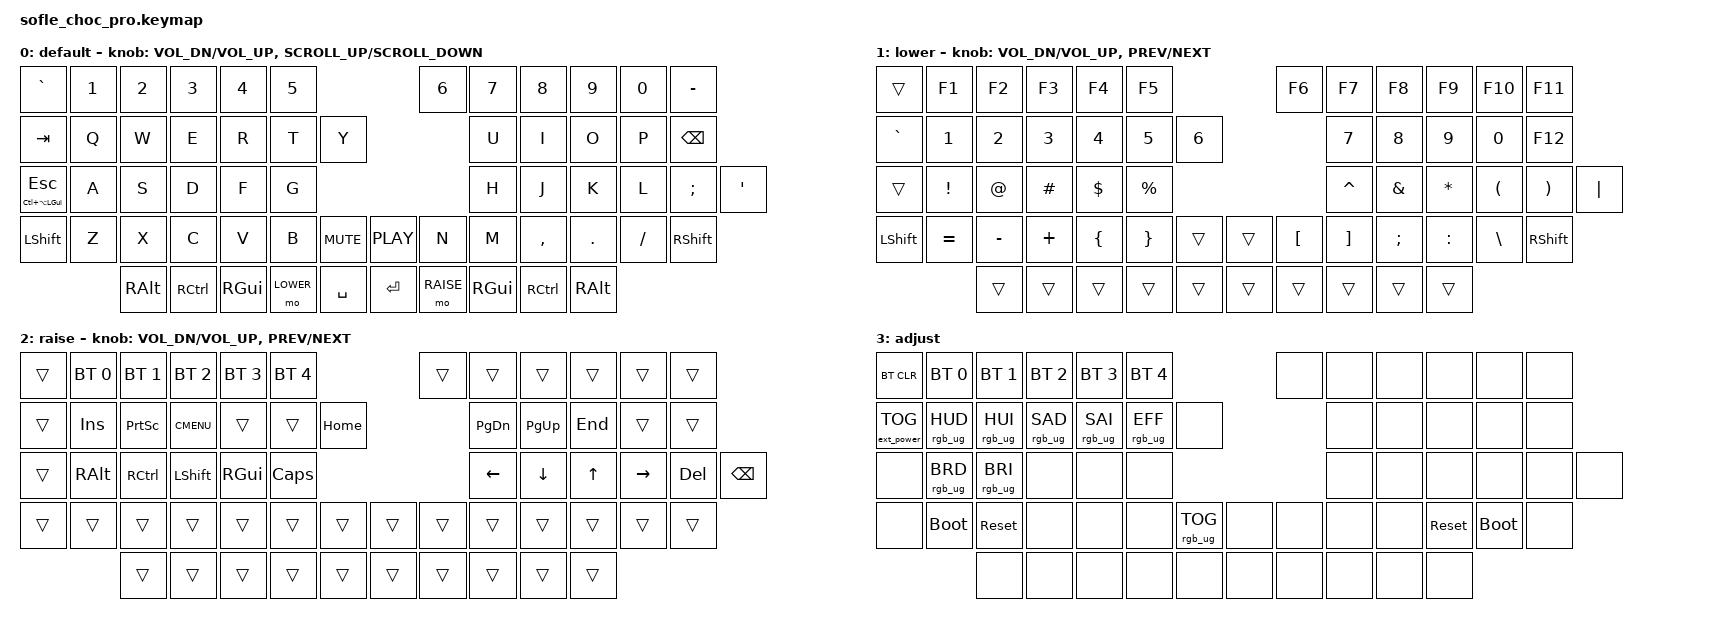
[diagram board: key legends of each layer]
/*
* Copyright (c) 2020 The ZMK Contributors
*
* SPDX-License-Identifier: MIT
*/

#include <behaviors.dtsi>
#include <dt-bindings/zmk/bt.h>
#include <dt-bindings/zmk/ext_power.h>
#include <dt-bindings/zmk/keys.h>
#include <dt-bindings/zmk/rgb.h>

#define BASE 0
#define LOWER 1
#define RAISE 2
#define ADJUST 3

/ {
    // Activate ADJUST layer by pressing raise and lower

    conditional_layers {
        compatible = "zmk,conditional-layers";

        adjust_layer {
            if-layers = <LOWER RAISE>;
            then-layer = <ADJUST>;
        };
    };

    behaviors {
        hm: hold_tap_mod {
            compatible = "zmk,behavior-hold-tap";
            label = "HOLD_TAP_MOD";
            bindings = <&kp>, <&kp>;

            #binding-cells = <2>;
            tapping-term-ms = <200>;
            quick-tap-ms = <175>;
            require-prior-idle-ms = <150>;
            flavor = "balanced";
        };
    };

    keymap {
        compatible = "zmk,keymap";

        default_layer {
            display-name = "default";

            // ------------------------------------------------------------------------------------------------------------
            // |   `    |  1  |  2  |  3   |  4   |  5   |                   |  6   |  7    |  8    |  9   |   0   |   -   |
            // |  TAB   |  Q  |  W  |  E   |  R   |  T   |                   |  Y   |  U    |  I    |  O   |   P   | BKSPC |
            // | WM/ESC |  A  |  S  |  D   |  F   |  G   |                   |  H   |  J    |  K    |  L   |   ;   |   '   |
            // | SHIFT  |  Z  |  X  |  C   |  V   |  B   |  MUTE  |  | PLAY  |  N   |  M    |  ,    |  .   |   /   | SHIFT |
            //                | ALT | CTRL | APP  | LOWER|  SPACE |  | ENTER | RAISE| APP   | CTRL  | ALT  |
            //
            // Each modifier role has its own key code, so the host can map the roles without a remapper.
            // WM/ESC: hold for the window-manager chord LCTRL+LALT+LGUI, tap for ESC.
            //         macOS reads the chord as Ctrl+Opt+Cmd. An XKB option on Linux folds it into Super.
            // APP:    RGUI. Cmd on macOS. The same XKB option makes it Control on Linux.
            // CTRL:   RCTRL. ALT: RALT.
            // No other key sends LCTRL, LALT or LGUI. These codes belong to the chord.

            bindings = <
&kp GRAVE     &kp N1  &kp N2     &kp N3    &kp N4    &kp N5                             &kp N6     &kp N7    &kp N8     &kp N9     &kp N0    &kp MINUS
&kp TAB       &kp Q   &kp W      &kp E     &kp R     &kp T      &kp Y                              &kp U     &kp I      &kp O      &kp P     &kp BSPC
&hm LC(LA(LGUI)) ESCAPE  &kp A   &kp S      &kp D     &kp F     &kp G      &kp H                              &kp J     &kp K      &kp L      &kp SEMI  &kp SQT
&kp LSHFT     &kp Z   &kp X      &kp C     &kp V     &kp B      &kp C_MUTE  &kp C_PLAY  &kp N      &kp M     &kp COMMA  &kp DOT    &kp FSLH  &kp RSHFT
                      &kp RALT   &kp RCTRL &kp RGUI  &mo LOWER  &kp SPACE   &kp ENTER   &mo RAISE  &kp RGUI  &kp RCTRL  &kp RALT
            >;

            sensor-bindings =
                <&inc_dec_kp C_VOL_DN C_VOL_UP>,
                <&inc_dec_kp K_SCROLL_UP K_SCROLL_DOWN>;
        };

        lower_layer {
            display-name = "lower";

            // ------------------------------------------------------------------------------------------------------------
            // |       |  F1 |  F2 |  F3  |  F4  |  F5  |                   |  F6  |  F7   |  F8   |  F9  |  F10  |  F11  |
            // |   `   |  1  |  2  |  3   |  4   |  5   |                   |  6   |  7    |  8    |  9   |   0   |  F12  |
            // |       |  !  |  @  |  #   |  $   |  %   |                   |  ^   |  &    |  *    |  (   |   )   |   |   |
            // |       |  =  |  -  |  +   |  {   |  }   |        |  |       |  [   |  ]    |  ;    |  :   |   \   |       |
            //               |     |      |      |      |        |  |       |      |       |       |      |

            bindings = <
&trans        &kp F1     &kp F2     &kp F3    &kp F4    &kp F5                        &kp F6    &kp F7    &kp F8     &kp F9     &kp F10   &kp F11
&kp GRAVE     &kp N1     &kp N2     &kp N3    &kp N4    &kp N5     &kp N6                       &kp N7    &kp N8     &kp N9     &kp N0    &kp F12
&trans        &kp EXCL   &kp AT     &kp HASH  &kp DLLR  &kp PRCNT  &kp CARET                    &kp AMPS  &kp ASTRK  &kp LPAR   &kp RPAR  &kp PIPE
&kp LSHIFT    &kp EQUAL  &kp MINUS  &kp PLUS  &kp LBRC  &kp RBRC   &trans     &trans  &kp LBKT  &kp RBKT  &kp SEMI   &kp COLON  &kp BSLH  &kp RSHFT
                         &trans     &trans    &trans    &trans     &trans     &trans  &trans    &trans    &trans     &trans
            >;

            sensor-bindings = <&inc_dec_kp C_VOL_DN C_VOL_UP &inc_dec_kp C_PREV C_NEXT>;
        };

        raise_layer {
            display-name = "raise";

            // ------------------------------------------------------------------------------------------------------------
            // |       | BT1  | BT2  |  BT3  |  BT4  |  BT5 |                |      |      |       |      |       |       |
            // |       | INS  | PSCR | MENU  |       |      |                | HOME | PGDN | PGUP  | END  |       |       |
            // |       | ALT  | CTRL | SHIFT | APP   | CAPS |                |  <-  |  v   |   ^   |  ->  |  DEL  | BKSPC |
            // |       |      |      |       |       |      |      |  |      |      |      |       |      |       |       |
            //
            // The left home row carries the modifiers, so the left hand adds them to the arrow keys.
            // BT_CLR is on the adjust layer only, where one stray key press cannot clear a pairing.
            //                |      |       |       |      |      |  |      |      |      |       |      |

            bindings = <
&trans      &bt BT_SEL 0  &bt BT_SEL 1  &bt BT_SEL 2  &bt BT_SEL 3  &bt BT_SEL 4                      &trans  &trans    &trans  &trans     &trans   &trans
&trans      &kp INS       &kp PSCRN     &kp K_CMENU   &trans        &trans          &kp HOME                  &kp PG_DN &kp PG_UP &kp END  &trans   &trans
&trans      &kp RALT      &kp RCTRL     &kp LSHFT     &kp RGUI      &kp CLCK        &kp LEFT                  &kp DOWN  &kp UP  &kp RIGHT  &kp DEL  &kp BSPC
&trans      &trans        &trans        &trans        &trans        &trans          &trans    &trans  &trans  &trans    &trans  &trans     &trans   &trans
                          &trans        &trans        &trans        &trans          &trans    &trans  &trans  &trans    &trans  &trans
            >;

            sensor-bindings = <&inc_dec_kp C_VOL_DN C_VOL_UP &inc_dec_kp C_PREV C_NEXT>;
        };

        adjust_layer {
            // ----------------------------------------------------------------------------------------------------------------------------
            // | BTCLR  |  BT1    |  BT2    |   BT3   |   BT4   |   BT5   |                  |      |      |       |      |       |       |
            // | EXTPWR | RGB_HUD | RGB_HUI | RGB_SAD | RGB_SAI | RGB_EFF |                  |      |      |       |      |       |       |
            // |        | RGB_BRD | RGB_BRI |         |         |         |                  |      |      |       |      |       |       |
            // |        |  BOOT   |  RESET  |         |         |         | RGB_TOG | |      |      |      |       | RESET | BOOT  |       |
            //                    |         |         |         |         |         | |      |      |      |       |      |

            display-name = "adjust";
            bindings = <
&bt BT_CLR         &bt BT_SEL 0     &bt BT_SEL 1     &bt BT_SEL 2     &bt BT_SEL 3     &bt BT_SEL 4                             &none  &none  &none  &none  &none  &none
&ext_power EP_TOG  &rgb_ug RGB_HUD  &rgb_ug RGB_HUI  &rgb_ug RGB_SAD  &rgb_ug RGB_SAI  &rgb_ug RGB_EFF  &none                          &none  &none  &none  &none  &none
&none              &rgb_ug RGB_BRD  &rgb_ug RGB_BRI  &none            &none            &none            &none                          &none  &none  &none  &none  &none
&none              &bootloader      &sys_reset       &none            &none            &none            &rgb_ug RGB_TOG  &none  &none  &none  &none  &sys_reset  &bootloader  &none
                                    &none            &none            &none            &none            &none            &none  &none  &none  &none  &none
            >;
        };
    };
};
